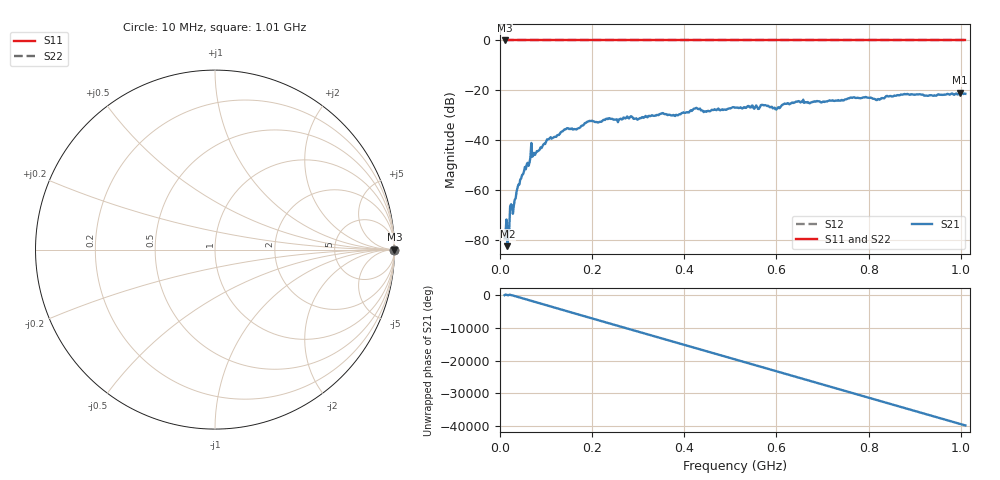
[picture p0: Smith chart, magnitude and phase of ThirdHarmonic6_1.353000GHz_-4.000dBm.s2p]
! 8/16/2025 3:14:11 PM
! C:\ANRITSUVNA\TEMP\TEMP.S2P
! CHANNEL.1
! TR.MEASUREMENT
! RAW.DATA
! RF.CORRECTION.OFF
! AVERAGING.OFF
! IF.BANDWIDTH: 5KHZ
! SWEEPTYPE:  FREQ.SWEEP(Linear)
! Reference Plane Port Info
! PORT:  PORT1  PORT2
! DISTANCE:  0  m  0  m
! TIME:  0  s  0  s
! PHASE.OFFSET:  0  deg.  0  deg.
! LOSS:  0  dB  0  dB
! REF.LOSS:  0  dB  0  dB
! REF.FREQ:  0  Hz  0  Hz
! Power Info
! POWER:  -20  dBm  -20  dBm
! EFF.POWER:  -20  dBm  -20  dBm
! SOURCE.ATTEN:  0  dB  0  dB
! TEST.ATTEN:  0  dB  0  dB
# GHZ S RI R 50.0
! FREQ.GHZ  S11RE  S11IM  S21RE  S21IM  S12RE  S12IM  S22RE  S22IM
!; PortSelection: Port_12
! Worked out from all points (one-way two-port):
!   501 points, 10 MHz to 1.01 GHz, reference 50 ohm
!   highest |S21| = -20.92 dB at 998 MHz (marker M1); lowest = -82.3 dB at 16 MHz (marker M2)
!   lowest |S11| = 0.0 dB at 10 MHz (marker M3)
!   |S11| at or under -10 dB: nowhere
!   |S22| runs from 0.0 to 0.0 dB; largest |S21 - S12| = 1.1
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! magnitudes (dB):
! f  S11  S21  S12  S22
! 10 MHz  0.0  -79.3  0.0  0.0
! 16 MHz  0.0  -82.3  0.0  0.0
! 22 MHz  0.0  -66.4  0.0  0.0
! 32 MHz  0.0  -63.8  0.0  0.0
! 40 MHz  0.0  -57.7  0.0  0.0
! 70 MHz  0.0  -46.6  0.0  0.0
! 74 MHz  0.0  -45.0  0.0  0.0
! 106 MHz  0.0  -39.4  0.0  0.0
! 142 MHz  0.0  -35.6  0.0  0.0
! 178 MHz  0.0  -34.1  0.0  0.0
! 196 MHz  0.0  -32.2  0.0  0.0
! 344 MHz  0.0  -29.9  0.0  0.0
! 384 MHz  0.0  -29.8  0.0  0.0
! 424 MHz  0.0  -27.2  0.0  0.0
! 510 MHz  0.0  -26.9  0.0  0.0
! 572 MHz  0.0  -25.9  0.0  0.0
! 602 MHz  0.0  -27.1  0.0  0.0
! 620 MHz  0.0  -25.4  0.0  0.0
! 678 MHz  0.0  -24.6  0.0  0.0
! 844 MHz  0.0  -22.4  0.0  0.0
! 998 MHz  0.0  -20.9  0.0  0.0
! 1.01 GHz  0.0  -21.3  0.0  0.0
